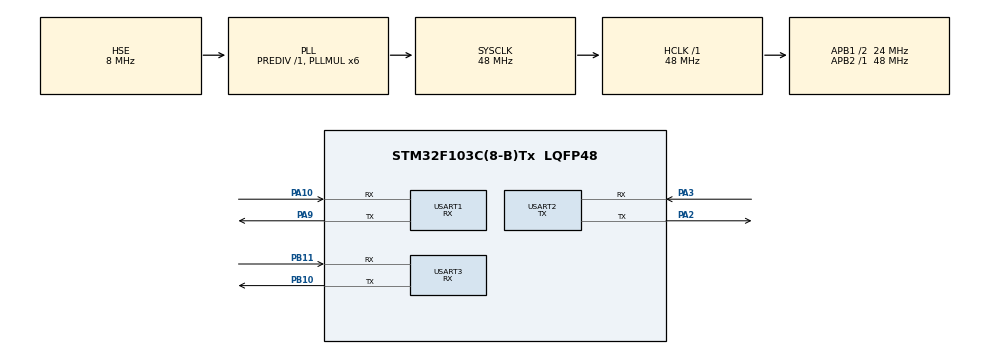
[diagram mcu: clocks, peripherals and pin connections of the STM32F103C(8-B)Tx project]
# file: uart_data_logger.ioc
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Dma.Request0=USART2_TX
Dma.USART2_TX.0.Direction=DMA_MEMORY_TO_PERIPH
Dma.USART2_TX.0.Instance=DMA1_Channel7
Dma.USART2_TX.0.MemDataAlignment=DMA_MDATAALIGN_BYTE
Dma.USART2_TX.0.MemInc=DMA_MINC_ENABLE
Dma.USART2_TX.0.Mode=DMA_NORMAL
Dma.USART2_TX.0.PeriphDataAlignment=DMA_PDATAALIGN_BYTE
Dma.USART2_TX.0.PeriphInc=DMA_PINC_DISABLE
Dma.USART2_TX.0.Priority=DMA_PRIORITY_LOW
FREERTOS.Tasks01=defaultTask,24,128,StartDefaultTask,Default,NULL,Dynamic,NULL,NULL
FREERTOS.configUSE_NEWLIB_REENTRANT=1
FREERTOS.configUSE_TICKLESS_IDLE=1
Mcu.Family=STM32F1
Mcu.Name=STM32F103C(8-B)Tx
Mcu.Package=LQFP48
NVIC.DMA1_Channel7_IRQn=true\:5\:0\:false\:false\:true\:true\:false\:true\:true
NVIC.PriorityGroup=NVIC_PRIORITYGROUP_4
NVIC.TIM2_IRQn=true\:15\:0\:false\:false\:true\:false\:false\:true\:true
NVIC.TimeBase=TIM2_IRQn
NVIC.TimeBaseIP=TIM2
NVIC.USART1_IRQn=true\:5\:0\:false\:false\:true\:true\:true\:true\:true
NVIC.USART2_IRQn=true\:5\:0\:false\:false\:true\:true\:true\:true\:true
NVIC.USART3_IRQn=true\:5\:0\:false\:false\:true\:true\:true\:true\:true
PA10.Mode=Asynchronous
PA10.Signal=USART1_RX
PA13.Mode=Serial_Wire
PA13.Signal=SYS_JTMS-SWDIO
PA14.Mode=Serial_Wire
PA14.Signal=SYS_JTCK-SWCLK
PA2.Mode=Asynchronous
PA2.Signal=USART2_TX
PA3.Mode=Asynchronous
PA3.Signal=USART2_RX
PA9.Mode=Asynchronous
PA9.Signal=USART1_TX
PB10.Mode=Asynchronous
PB10.Signal=USART3_TX
PB11.Mode=Asynchronous
PB11.Signal=USART3_RX
PD0-OSC_IN.Mode=HSE-External-Oscillator
PD0-OSC_IN.Signal=RCC_OSC_IN
PD1-OSC_OUT.Mode=HSE-External-Oscillator
PD1-OSC_OUT.Signal=RCC_OSC_OUT
ProjectManager.HeapSize=0x200
ProjectManager.StackSize=0x400
ProjectManager.TargetToolchain=STM32CubeIDE
RCC.AHBFreq_Value=48000000
RCC.APB1CLKDivider=RCC_HCLK_DIV2
RCC.APB1Freq_Value=24000000
RCC.APB1TimFreq_Value=48000000
RCC.APB2Freq_Value=48000000
RCC.APB2TimFreq_Value=48000000
RCC.EnbaleCSS=true
RCC.HCLKFreq_Value=48000000
RCC.PLLMUL=RCC_PLL_MUL6
RCC.PLLSourceVirtual=RCC_PLLSOURCE_HSE
RCC.SYSCLKFreq_VALUE=48000000
RCC.SYSCLKSource=RCC_SYSCLKSOURCE_PLLCLK
RCC.USBFreq_Value=48000000
USART1.Mode=MODE_RX
USART1.VirtualMode=VM_ASYNC
USART2.Mode=MODE_TX
USART2.VirtualMode=VM_ASYNC
USART3.Mode=MODE_RX
USART3.VirtualMode=VM_ASYNC
VP_FREERTOS_VS_CMSIS_V2.Mode=CMSIS_V2
VP_SYS_VS_tim2.Mode=TIM2
board=custom

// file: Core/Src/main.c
/* USER CODE BEGIN Header */
/**
 ******************************************************************************
 * @file           : main.c
 * @brief          : Main program body
 ******************************************************************************
 * @attention
 *
 * Copyright (c) 2024 STMicroelectronics.
 * All rights reserved.
 *
 * This software is licensed under terms that can be found in the LICENSE file
 * in the root directory of this software component.
 * If no LICENSE file comes with this software, it is provided AS-IS.
 *
 ******************************************************************************
 */
/* USER CODE END Header */
#include "main.h"
#include "cmsis_os.h"
#include "dma.h"
#include "usart.h"
#include "gpio.h"

/* USER CODE BEGIN Includes */
#include "usart1_ring.h"
#include "usart3_ring.h"
/* USER CODE END Includes */

/* USER CODE BEGIN PD */
#define SIZE_BF 128
/* USER CODE END PD */

void SystemClock_Config(void);
void MX_FREERTOS_Init(void);

int main(void)
{

  /* MCU Configuration--------------------------------------------------------*/

  /* Reset of all peripherals, Initializes the Flash interface and the Systick. */
  HAL_Init();

  /* Configure the system clock */
  SystemClock_Config();

  /* Initialize all configured peripherals */
  MX_GPIO_Init();
  MX_DMA_Init();
  MX_USART1_UART_Init();
  MX_USART2_UART_Init();
  MX_USART3_UART_Init();
  /* USER CODE BEGIN 2 */
  __HAL_UART_ENABLE_IT(&UART1, UART_IT_RXNE);
  __HAL_UART_ENABLE_IT(&UART3, UART_IT_RXNE);
  /* USER CODE END 2 */

  /* Init scheduler */
  osKernelInitialize();  /* Call init function for freertos objects (in cmsis_os2.c) */
  MX_FREERTOS_Init();

  /* Start scheduler */
  osKernelStart();

  /* We should never get here as control is now taken by the scheduler */

  /* Infinite loop */
  while (1) {

  }
}

void SystemClock_Config(void)
{
  RCC_OscInitTypeDef RCC_OscInitStruct = {0};
  RCC_ClkInitTypeDef RCC_ClkInitStruct = {0};

  /** Initializes the RCC Oscillators according to the specified parameters
  * in the RCC_OscInitTypeDef structure.
  */
  RCC_OscInitStruct.OscillatorType = RCC_OSCILLATORTYPE_HSE;
  RCC_OscInitStruct.HSEState = RCC_HSE_ON;
  RCC_OscInitStruct.HSEPredivValue = RCC_HSE_PREDIV_DIV1;
  RCC_OscInitStruct.HSIState = RCC_HSI_ON;
  RCC_OscInitStruct.PLL.PLLState = RCC_PLL_ON;
  RCC_OscInitStruct.PLL.PLLSource = RCC_PLLSOURCE_HSE;
  RCC_OscInitStruct.PLL.PLLMUL = RCC_PLL_MUL6;
  if (HAL_RCC_OscConfig(&RCC_OscInitStruct) != HAL_OK)
  {
    Error_Handler();
  }

  /** Initializes the CPU, AHB and APB buses clocks
  */
  RCC_ClkInitStruct.ClockType = RCC_CLOCKTYPE_HCLK|RCC_CLOCKTYPE_SYSCLK
                              |RCC_CLOCKTYPE_PCLK1|RCC_CLOCKTYPE_PCLK2;
  RCC_ClkInitStruct.SYSCLKSource = RCC_SYSCLKSOURCE_PLLCLK;
  RCC_ClkInitStruct.AHBCLKDivider = RCC_SYSCLK_DIV1;
  RCC_ClkInitStruct.APB1CLKDivider = RCC_HCLK_DIV2;
  RCC_ClkInitStruct.APB2CLKDivider = RCC_HCLK_DIV1;

  if (HAL_RCC_ClockConfig(&RCC_ClkInitStruct, FLASH_LATENCY_1) != HAL_OK)
  {
    Error_Handler();
  }

  /** Enables the Clock Security System
  */
  HAL_RCC_EnableCSS();
}

void HAL_TIM_PeriodElapsedCallback(TIM_HandleTypeDef *htim)
{
  if (htim->Instance == TIM2)
  {
    HAL_IncTick();
  }
}

void Error_Handler(void)
{
  __disable_irq();
  while (1) {
  }
}

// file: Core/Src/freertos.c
/* USER CODE BEGIN Header */
/**
 ******************************************************************************
 * File Name          : freertos.c
 * Description        : Code for freertos applications
 ******************************************************************************
 * @attention
 *
 * Copyright (c) 2025 STMicroelectronics.
 * All rights reserved.
 *
 * This software is licensed under terms that can be found in the LICENSE file
 * in the root directory of this software component.
 * If no LICENSE file comes with this software, it is provided AS-IS.
 *
 ******************************************************************************
 */
/* USER CODE END Header */

#include "FreeRTOS.h"
#include "task.h"
#include "main.h"
#include "cmsis_os.h"

/* USER CODE BEGIN Includes */
#include <string.h>
#include "semphr.h"
#include "usart1_ring.h"
#include "usart3_ring.h"
/* USER CODE END Includes */

/* USER CODE BEGIN PTD */
typedef struct {
  size_t xDataLength; // Количество записанных данных
  size_t xBlockSize;  // Полный размер массива
  uint8_t uData[];   // Массив для данных
} MemBlock_t;
/* USER CODE END PTD */

/* USER CODE BEGIN PD */
// Первоначальный размер массива для передачи по TX и количество добавляемых байт
#define INITIAL_BLOCK_SIZE 64
// Длина начальной строки для идентификации линии + символ '\n'
#define INITIAL_LENGTH 3
/* USER CODE END PD */

/* USER CODE BEGIN Variables */
// Дескрипторы задач
TaskHandle_t uart1RxHandle;
TaskHandle_t uart3RxHandle;
TaskHandle_t uart2TxHandle;
// Очередь для передачи данных между задачами
QueueHandle_t xUartQueue;
// Семафор для синхронизации передачи DMA Uart2 TX
SemaphoreHandle_t txCompleted;

extern UART_HandleTypeDef huart1;
extern UART_HandleTypeDef huart2;
extern UART_HandleTypeDef huart3;

/* USER CODE END Variables */
/* Definitions for defaultTask */
osThreadId_t defaultTaskHandle;
const osThreadAttr_t defaultTask_attributes = { .name = "defaultTask", .stack_size = 128 * 4, .priority = (osPriority_t) osPriorityNormal, };

/* USER CODE BEGIN FunctionPrototypes */
void vTaskUart1Rx(void *argument);
void vTaskUart3Rx(void *argument);
void vTaskUart2Tx(void *argument);
// Обработчик ошибок
void vErrorHandler(void);
/* USER CODE END FunctionPrototypes */

void StartDefaultTask(void *argument);

void MX_FREERTOS_Init(void); /* (MISRA C 2004 rule 8.1) */

/* USER CODE BEGIN PREPOSTSLEEP */
__weak void PreSleepProcessing(uint32_t *ulExpectedIdleTime) {
  /* place for user code */
}

__weak void PostSleepProcessing(uint32_t *ulExpectedIdleTime) {
  /* place for user code */
}
/* USER CODE END PREPOSTSLEEP */

void MX_FREERTOS_Init(void) {

  /* USER CODE BEGIN RTOS_MUTEX */
  /* add mutex, ... */
  /* USER CODE END RTOS_MUTEX */

  /* USER CODE BEGIN RTOS_SEMAPHORES */
  txCompleted = xSemaphoreCreateBinary();
  if (txCompleted == NULL) {
    vErrorHandler();
  }
  // Сейчас семафор заблокирован, освобождение произойдёт в прерывании Uart2
  /* USER CODE END RTOS_SEMAPHORES */

  /* USER CODE BEGIN RTOS_QUEUES */
  // Создание очереди (хранит указатели на MemBlock_t)
  xUartQueue = xQueueCreate(10, sizeof(MemBlock_t*));
  if (xUartQueue == NULL) {
    vErrorHandler();
  }
  /* USER CODE END RTOS_QUEUES */

  /* Create the thread(s) */
  /* creation of defaultTask */
  defaultTaskHandle = osThreadNew(StartDefaultTask, NULL, &defaultTask_attributes);

  /* USER CODE BEGIN RTOS_THREADS */
  if (xTaskCreate(vTaskUart1Rx, "taskUart1Rx", 128, NULL, osPriorityNormal, &uart1RxHandle) == pdFAIL) {
    vErrorHandler();
  }

  if (xTaskCreate(vTaskUart3Rx, "taskUart3Rx", 128, NULL, osPriorityNormal, &uart3RxHandle) == pdFAIL) {
    vErrorHandler();
  }

  if (xTaskCreate(vTaskUart2Tx, "taskUart2Tx", 128, NULL, osPriorityNormal, &uart2TxHandle) == pdFAIL) {
    vErrorHandler();
  }
  /* USER CODE END RTOS_THREADS */

}

void StartDefaultTask(void *argument) {
  /* USER CODE BEGIN StartDefaultTask */
  /* Infinite loop */
  for (;;) {
    vTaskDelete(NULL);
  }
  /* USER CODE END StartDefaultTask */
}

/* USER CODE BEGIN Application */
void HAL_UART_TxCpltCallback(UART_HandleTypeDef *huart) {
  BaseType_t xHigherPriorityTaskWoken = pdFALSE;

  if (huart->Instance == USART2) {
    xSemaphoreGiveFromISR(txCompleted, &xHigherPriorityTaskWoken);
  }

  // Единая точка yield для всех условий
  portYIELD_FROM_ISR(xHigherPriorityTaskWoken);
}

void vErrorHandler() {
  __set_FAULTMASK(1); // Запрещаем все маскируемые прерывания
  NVIC_SystemReset(); // Программный сброс
}

void vTaskUart1Rx(void *argement) {
  uint8_t dataUart1 = 0;
  MemBlock_t *pxMemBlock = NULL;

  for (;;) {
    vTaskDelay(pdMS_TO_TICKS(6));
    if (pxMemBlock == NULL) {
      // Инициализация начального блока памяти
      pxMemBlock = (MemBlock_t*) pvPortMalloc(sizeof(MemBlock_t) + INITIAL_BLOCK_SIZE);
      if (pxMemBlock == NULL) {
        vErrorHandler();
      }
      pxMemBlock->xBlockSize = INITIAL_BLOCK_SIZE;
      // Записываем начальные символы инициализирующие линию
      memcpy(pxMemBlock->uData, (uint8_t[] ) { 'R', 'x', ':' }, INITIAL_LENGTH);
      pxMemBlock->xDataLength = INITIAL_LENGTH;
    }
    if (uart1_available()) {
      while (uart1_available()) {
        dataUart1 = uart1_read(); // Читаем пришедший байт

        // Проверяем необходимость расширения памяти
        if (pxMemBlock->xDataLength + INITIAL_LENGTH + 1 >= pxMemBlock->xBlockSize) {
          // Увеличиваем размер массива в новом блоке на INITIAL_BLOCK_SIZE байт
          MemBlock_t *pxNewBlock = (MemBlock_t*) pvPortMalloc(sizeof(MemBlock_t) + INITIAL_BLOCK_SIZE);
          if (pxNewBlock == NULL) {
            vErrorHandler();
          }
          // Копирование данных в новый блок
          memcpy(pxNewBlock->uData, pxMemBlock->uData, pxMemBlock->xDataLength);
          pxNewBlock->xDataLength = pxMemBlock->xDataLength;
          pxNewBlock->xBlockSize = pxMemBlock->xBlockSize + INITIAL_BLOCK_SIZE;

          // Освобождение старого блока и замена на новый
          vPortFree(pxMemBlock);

          pxMemBlock = pxNewBlock;
        }
        // Преобразуем шестнадцатиричное число в два символа
        pxMemBlock->uData[pxMemBlock->xDataLength++] = ' ';
        pxMemBlock->uData[pxMemBlock->xDataLength++] = "0123456789ABCDEF"[dataUart1 >> 4 & 0x0F];
        pxMemBlock->uData[pxMemBlock->xDataLength++] = "0123456789ABCDEF"[dataUart1 & 0x0F];
      }
    } else {
      if (pxMemBlock->xDataLength > INITIAL_LENGTH) {
        // Данные полностью скопированы, добавляем перевод строки
        pxMemBlock->uData[pxMemBlock->xDataLength++] = '\n';
        // Записываем указатель на структуру в очередь задач
        if (xQueueSend(xUartQueue, &pxMemBlock, portMAX_DELAY) == pdPASS) {
          // Ссылка на данные успешно отправлена в очередь, указатель больше не нужен
          pxMemBlock = NULL;
          // Память будет освобождена в задаче taskUart2Tx
        } else {
          // Если не удалось отправить в очередь, освобождаем память
          vPortFree(pxMemBlock);
          pxMemBlock = NULL;
        }
      }
    }
  }
}

void vTaskUart3Rx(void *argement) {
  for (;;) {
    uint8_t dataUart3 = 0;
    MemBlock_t *pxMemBlock = NULL;

    for (;;) {
      vTaskDelay(pdMS_TO_TICKS(5));
      if (pxMemBlock == NULL) {
        // Инициализация начального блока памяти
        pxMemBlock = (MemBlock_t*) pvPortMalloc(sizeof(MemBlock_t) + INITIAL_BLOCK_SIZE);
        if (pxMemBlock == NULL) {
          vErrorHandler();
        }
        pxMemBlock->xBlockSize = INITIAL_BLOCK_SIZE;
        // Записываем начальные символы инициализирующие линию
        memcpy(pxMemBlock->uData, (uint8_t[] ) { 'T', 'x', ':' }, INITIAL_LENGTH);
        pxMemBlock->xDataLength = INITIAL_LENGTH;
      }
      if (uart3_available()) {
        while (uart3_available()) {
          dataUart3 = uart3_read(); // Читаем пришедший байт

          // Проверяем необходимость расширения памяти
          if (pxMemBlock->xDataLength + INITIAL_LENGTH + 1 >= pxMemBlock->xBlockSize) {
            // Увеличиваем размер массива в новом блоке на INITIAL_BLOCK_SIZE байт
            MemBlock_t *pxNewBlock = (MemBlock_t*) pvPortMalloc(sizeof(MemBlock_t) + INITIAL_BLOCK_SIZE);
            if (pxNewBlock == NULL) {
              vErrorHandler();
            }
            // Копирование данных в новый блок
            memcpy(pxNewBlock->uData, pxMemBlock->uData, pxMemBlock->xDataLength);
            pxNewBlock->xDataLength = pxMemBlock->xDataLength;
            pxNewBlock->xBlockSize = pxMemBlock->xBlockSize + INITIAL_BLOCK_SIZE;

            // Освобождение старого блока и замена на новый
            vPortFree(pxMemBlock);

            pxMemBlock = pxNewBlock;
          }
          // Преобразуем шестнадцатиричное число в два символа
          pxMemBlock->uData[pxMemBlock->xDataLength++] = ' ';
          pxMemBlock->uData[pxMemBlock->xDataLength++] = "0123456789ABCDEF"[dataUart3 >> 4 & 0x0F];
          pxMemBlock->uData[pxMemBlock->xDataLength++] = "0123456789ABCDEF"[dataUart3 & 0x0F];
        }
      } else {
        if (pxMemBlock->xDataLength > INITIAL_LENGTH) {
          // Данные полностью скопированы, добавляем перевод строки
          pxMemBlock->uData[pxMemBlock->xDataLength++] = '\n';
          // Записываем указатель на структуру в очередь задач
          if (xQueueSend(xUartQueue, &pxMemBlock, portMAX_DELAY) == pdPASS) {
            // Ссылка на данные успешно отправлена в очередь, указатель больше не нужен
            pxMemBlock = NULL;
            // Память будет освобождена в задаче taskUart2Tx
          } else {
            // Если не удалось отправить в очередь, освобождаем память
            vPortFree(pxMemBlock);
            pxMemBlock = NULL;
          }
        }
      }
    }
  }
}

void vTaskUart2Tx(void *argement) {
  MemBlock_t *pxMemBlock = NULL;

  for (;;) {
    // Ожидание данных из очереди
    if (xQueueReceive(xUartQueue, &pxMemBlock, portMAX_DELAY) == pdPASS) {
      // Извлекаем из очереди указатель на указатель на динамически выделенную память
      if (pxMemBlock != NULL && pxMemBlock->xDataLength > INITIAL_LENGTH) {
        // Запуск передачи через DMA
        if (HAL_UART_Transmit_DMA(&huart2, pxMemBlock->uData, pxMemBlock->xDataLength) == HAL_OK) {
          // Ожидание семафора от колбэка (передача завершена)
          if (xSemaphoreTake(txCompleted, portMAX_DELAY) == pdTRUE) {
            // Данные успешно переданы, освобождаем память и обнуляем указатель
            vPortFree(pxMemBlock);
            pxMemBlock = NULL;
          }
        } else {
          // Ошибка DMA - освобождаем память и обнуляем указатель
          vPortFree(pxMemBlock);
          pxMemBlock = NULL;
        }
      }
    }
  }
}
/* USER CODE END Application */
